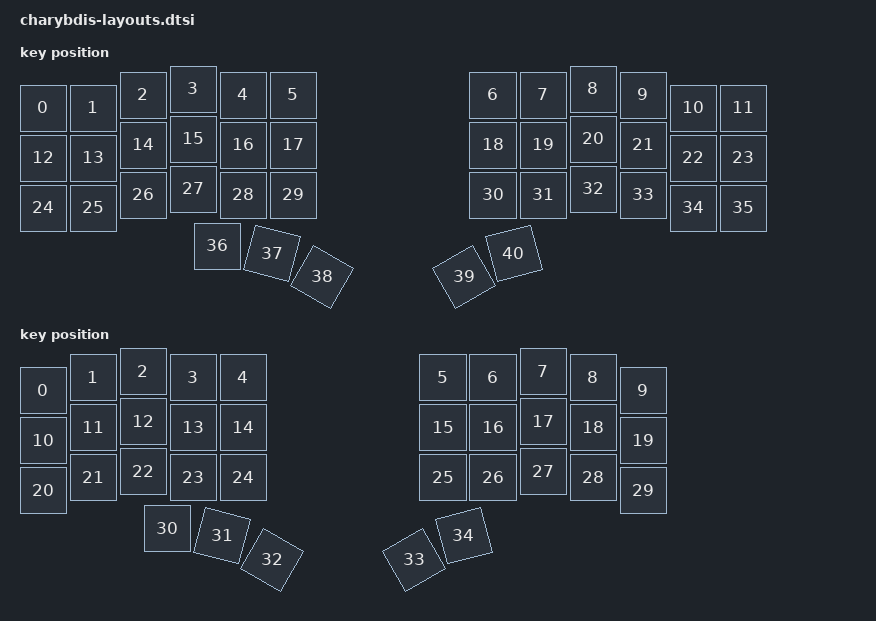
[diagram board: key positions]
#include <physical_layouts.dtsi>

/*
 * Two physical layouts live here. Only ONE may be enabled at a time, and
 * `chosen { zmk,physical-layout = ... }` in charybdis.dtsi must point at it.
 *
 *   charybdis_physical_layout      3x6, 41 keys, &default_transform (12 cols)
 *   charybdis_nano_physical_layout 3x5, 35 keys, &five_column_transform (10 cols)
 *
 * The 3x5 geometry is the 3x6 one with the outer column of each half removed
 * and every x shifted by -100, so the column stagger and the gap between
 * halves are preserved.
 *
 * To go back to 3x6: flip the two `status` values below, repoint `chosen`,
 * and restore the 41-binding keymap plus the 3x6 combo/KEYS_* positions.
 */

/ {
    charybdis_physical_layout: charybdis_physical_layout {
        compatible = "zmk,physical-layout";
        display-name = "Charybdis 3x6";
        status = "disabled";
        kscan = <&kscan0>;
        transform = <&default_transform>;

        keys
            // Row 0 - left half then right half
            //                       w   h    x    y     rot    rx    ry
            = <&key_physical_attrs 100 100    0   38       0     0     0>
            , <&key_physical_attrs 100 100  100   38       0     0     0>
            , <&key_physical_attrs 100 100  200   12       0     0     0>
            , <&key_physical_attrs 100 100  300    0       0     0     0>
            , <&key_physical_attrs 100 100  400   12       0     0     0>
            , <&key_physical_attrs 100 100  500   12       0     0     0>
            , <&key_physical_attrs 100 100  900   12       0     0     0>
            , <&key_physical_attrs 100 100 1000   12       0     0     0>
            , <&key_physical_attrs 100 100 1100    0       0     0     0>
            , <&key_physical_attrs 100 100 1200   12       0     0     0>
            , <&key_physical_attrs 100 100 1300   38       0     0     0>
            , <&key_physical_attrs 100 100 1400   38       0     0     0>

            // Row 1
            , <&key_physical_attrs 100 100    0  138       0     0     0>
            , <&key_physical_attrs 100 100  100  138       0     0     0>
            , <&key_physical_attrs 100 100  200  112       0     0     0>
            , <&key_physical_attrs 100 100  300  100       0     0     0>
            , <&key_physical_attrs 100 100  400  112       0     0     0>
            , <&key_physical_attrs 100 100  500  112       0     0     0>
            , <&key_physical_attrs 100 100  900  112       0     0     0>
            , <&key_physical_attrs 100 100 1000  112       0     0     0>
            , <&key_physical_attrs 100 100 1100  100       0     0     0>
            , <&key_physical_attrs 100 100 1200  112       0     0     0>
            , <&key_physical_attrs 100 100 1300  138       0     0     0>
            , <&key_physical_attrs 100 100 1400  138       0     0     0>

            // Row 2
            , <&key_physical_attrs 100 100    0  238       0     0     0>
            , <&key_physical_attrs 100 100  100  238       0     0     0>
            , <&key_physical_attrs 100 100  200  212       0     0     0>
            , <&key_physical_attrs 100 100  300  200       0     0     0>
            , <&key_physical_attrs 100 100  400  212       0     0     0>
            , <&key_physical_attrs 100 100  500  212       0     0     0>
            , <&key_physical_attrs 100 100  900  212       0     0     0>
            , <&key_physical_attrs 100 100 1000  212       0     0     0>
            , <&key_physical_attrs 100 100 1100  200       0     0     0>
            , <&key_physical_attrs 100 100 1200  212       0     0     0>
            , <&key_physical_attrs 100 100 1300  238       0     0     0>
            , <&key_physical_attrs 100 100 1400  238       0     0     0>

            // Thumb clusters
            //                       w   h    x    y     rot    rx    ry
            , <&key_physical_attrs 100 100  348  314       0     0     0>
            , <&key_physical_attrs 100 100  348  314    1500   398   790>
            , <&key_physical_attrs 100 100  348  320    3000   398   790>
            , <&key_physical_attrs 100 100 1052  320 (-3000)  1102   790>
            , <&key_physical_attrs 100 100 1052  314 (-1500)  1102   790>
            ;
    };

    charybdis_nano_physical_layout: charybdis_nano_physical_layout {
        compatible = "zmk,physical-layout";
        display-name = "Charybdis Nano 3x5";
        status = "okay";
        kscan = <&kscan0>;
        transform = <&five_column_transform>;

        keys
            // Row 0 - left half (5) then right half (5)
            //                       w   h    x    y     rot    rx    ry
            = <&key_physical_attrs 100 100    0   38       0     0     0>
            , <&key_physical_attrs 100 100  100   12       0     0     0>
            , <&key_physical_attrs 100 100  200    0       0     0     0>
            , <&key_physical_attrs 100 100  300   12       0     0     0>
            , <&key_physical_attrs 100 100  400   12       0     0     0>
            , <&key_physical_attrs 100 100  800   12       0     0     0>
            , <&key_physical_attrs 100 100  900   12       0     0     0>
            , <&key_physical_attrs 100 100 1000    0       0     0     0>
            , <&key_physical_attrs 100 100 1100   12       0     0     0>
            , <&key_physical_attrs 100 100 1200   38       0     0     0>

            // Row 1
            , <&key_physical_attrs 100 100    0  138       0     0     0>
            , <&key_physical_attrs 100 100  100  112       0     0     0>
            , <&key_physical_attrs 100 100  200  100       0     0     0>
            , <&key_physical_attrs 100 100  300  112       0     0     0>
            , <&key_physical_attrs 100 100  400  112       0     0     0>
            , <&key_physical_attrs 100 100  800  112       0     0     0>
            , <&key_physical_attrs 100 100  900  112       0     0     0>
            , <&key_physical_attrs 100 100 1000  100       0     0     0>
            , <&key_physical_attrs 100 100 1100  112       0     0     0>
            , <&key_physical_attrs 100 100 1200  138       0     0     0>

            // Row 2
            , <&key_physical_attrs 100 100    0  238       0     0     0>
            , <&key_physical_attrs 100 100  100  212       0     0     0>
            , <&key_physical_attrs 100 100  200  200       0     0     0>
            , <&key_physical_attrs 100 100  300  212       0     0     0>
            , <&key_physical_attrs 100 100  400  212       0     0     0>
            , <&key_physical_attrs 100 100  800  212       0     0     0>
            , <&key_physical_attrs 100 100  900  212       0     0     0>
            , <&key_physical_attrs 100 100 1000  200       0     0     0>
            , <&key_physical_attrs 100 100 1100  212       0     0     0>
            , <&key_physical_attrs 100 100 1200  238       0     0     0>

            // Thumb clusters (same as 3x6, x and rx shifted by -100)
            //                       w   h    x    y     rot    rx    ry
            , <&key_physical_attrs 100 100  248  314       0     0     0>
            , <&key_physical_attrs 100 100  248  314    1500   298   790>
            , <&key_physical_attrs 100 100  248  320    3000   298   790>
            , <&key_physical_attrs 100 100  952  320 (-3000)  1002   790>
            , <&key_physical_attrs 100 100  952  314 (-1500)  1002   790>
            ;
    };
};
